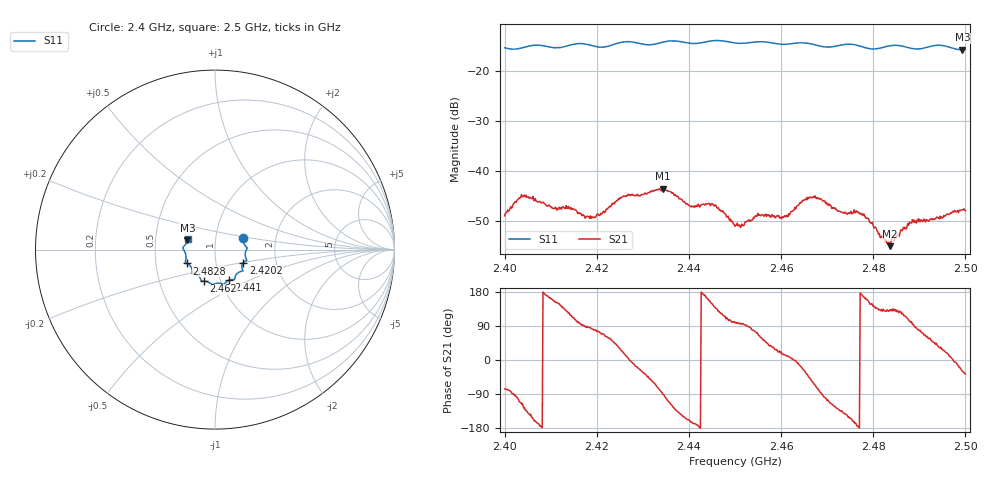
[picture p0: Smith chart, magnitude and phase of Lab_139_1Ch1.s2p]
# Hz S RI R 50
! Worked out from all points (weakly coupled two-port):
!   601 points, 2.4 GHz to 2.5 GHz, reference 50 ohm
!   highest |S21| = -43.51 dB at 2.4343 GHz (marker M1); lowest = -55.0 dB at 2.4837 GHz (marker M2)
!   lowest |S11| = -15.8 dB at 2.4993 GHz (marker M3), VSWR 1.39, Z = 36.5 + j3.9 ohm
!   |S11| at or under -10 dB: start of sweep to end of sweep
!   S12 and S22 are empty: the file has one direction only
!   S11 on the Smith chart (normalised r, x): 2.4 GHz: 1.36, +0.17; 2.4202 GHz: 1.36, -0.20; 2.441 GHz: 1.10, -0.39; 2.462 GHz: 0.83, -0.30; 2.4828 GHz: 0.72, -0.11; 2.5 GHz: 0.73, +0.09
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2.4e9  0.1581 0.062  0.000838 -0.00347  0 0  0 0
2.404167e9  0.1705 0.0187  -0.00343 -0.00456  0 0  0 0
2.416667e9  0.177 -0.0605  -0.000249 0.00366  0 0  0 0
2.420167e9  0.158 -0.0719  0.000901 0.00364  0 0  0 0
2.4255e9  0.1552 -0.1156  0.00504 0.00214  0 0  0 0
2.433333e9  0.1119 -0.1511  0.00174 -0.0063  0 0  0 0
2.434333e9  0.11 -0.1589  2.54e-05 -0.00668  0 0  0 0
2.441e9  0.0782 -0.1704  -0.00435 -0.000989  0 0  0 0
2.445333e9  0.0515 -0.1935  -0.00366 0.00274  0 0  0 0
2.45e9  0.0277 -0.1876  -0.000398 0.00278  0 0  0 0
2.4515e9  0.0126 -0.1877  -0.00029 0.00294  0 0  0 0
2.454833e9  -0.0115 -0.1946  0.00111 0.00338  0 0  0 0
2.462e9  -0.0608 -0.1758  0.0038 0.000403  0 0  0 0
2.466667e9  -0.0788 -0.1677  0.00305 -0.00452  0 0  0 0
2.472833e9  -0.1195 -0.1349  -0.00278 -0.0028  0 0  0 0
2.477667e9  -0.1274 -0.1181  -0.00371 0.000603  0 0  0 0
2.482833e9  -0.1572 -0.0768  -0.00125 0.00156  0 0  0 0
2.483333e9  -0.1601 -0.0753  -0.00121 0.00152  0 0  0 0
2.483667e9  -0.1618 -0.0746  -0.00121 0.00131  0 0  0 0
2.488333e9  -0.1612 -0.045  -0.000569 0.00298  0 0  0 0
2.499333e9  -0.154 0.052  0.00357 -0.00201  0 0  0 0
2.5e9  -0.1525 0.0612  0.00322 -0.00242  0 0  0 0
